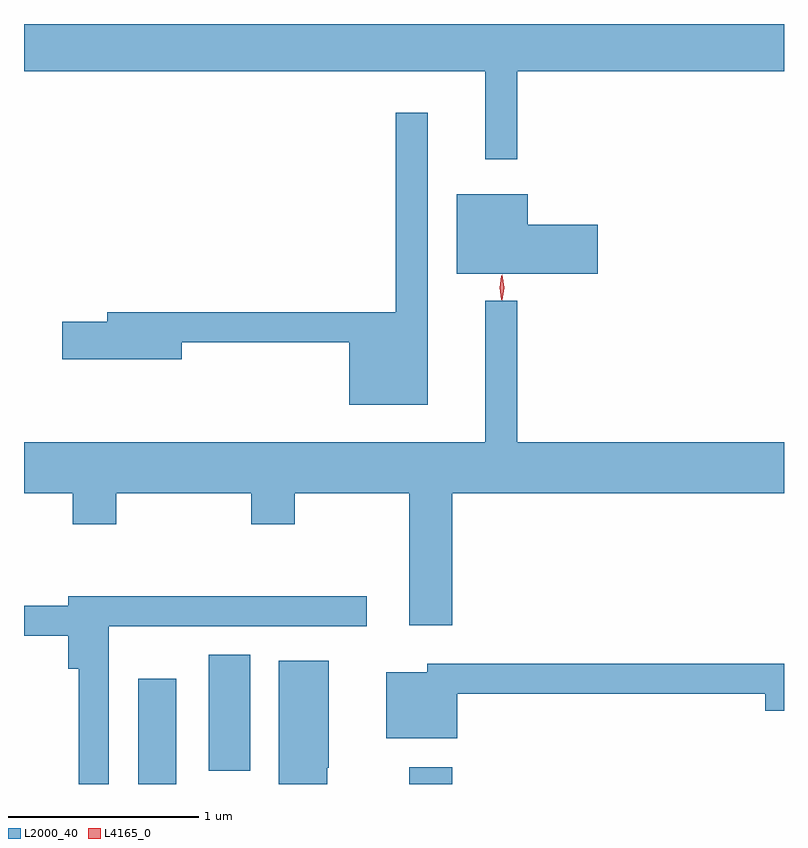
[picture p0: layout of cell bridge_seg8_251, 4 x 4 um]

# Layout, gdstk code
import gdstk
lib = gdstk.Library(unit=1e-6, precision=1e-09)
def R(c, l, rs):  # rectangles x0, y0, x1, y1
    for r in rs: c.add(gdstk.rectangle(r[:2], r[2:], *l))
def P(c, l, *ps):  # polygons
    for p in ps: c.add(gdstk.Polygon(p, *l))
L2000_40 = (2000, 40)
L4165_0 = (4165, 0)

bridge_seg8_251 = lib.new_cell('bridge_seg8_251')
R(bridge_seg8_251, L2000_40, [(1050.386,1828.225,1050.584,1828.779), (1051.811,1828.225,1052.039,1828.314), (1050.756,1828.296,1050.974,1828.904)])
P(bridge_seg8_251, L2000_40, [(1052.379,1831.976),(1053.784,1831.976),(1053.784,1832.225),(1049.784,1832.225),(1049.784,1831.976),(1052.211,1831.976),(1052.211,1831.513),(1052.379,1831.513)],
  [(1051.909,1831.758),(1051.741,1831.758),(1051.741,1830.709),(1050.221,1830.709),(1050.221,1830.659),(1049.986,1830.659),(1049.986,1830.461),(1050.614,1830.461),(1050.614,1830.551),(1051.496,1830.551),(1051.496,1830.221),(1051.909,1830.221)],
  [(1052.804,1831.169),(1052.434,1831.169),(1052.434,1831.329),(1052.061,1831.329),(1052.061,1830.911),(1052.804,1830.911)],
  [(1052.039,1829.756),(1053.784,1829.756),(1053.784,1830.024),(1052.379,1830.024),(1052.379,1830.768),(1052.211,1830.768),(1052.211,1830.024),(1049.784,1830.024),(1049.784,1829.756),(1050.041,1829.756),(1050.041,1829.591),(1050.269,1829.591),(1050.269,1829.756),(1050.981,1829.756),(1050.981,1829.591),(1051.209,1829.591),(1051.209,1829.756),(1051.811,1829.756),(1051.811,1829.061),(1052.039,1829.061)],
  [(1050.229,1829.056),(1051.588,1829.056),(1051.588,1829.214),(1050.016,1829.214),(1050.016,1829.164),(1049.784,1829.164),(1049.784,1829.006),(1050.016,1829.006),(1050.016,1828.831),(1050.071,1828.831),(1050.071,1828.225),(1050.229,1828.225)],
  [(1051.379,1828.31),(1051.389,1828.31),(1051.389,1828.874),(1051.126,1828.874),(1051.126,1828.225),(1051.379,1828.225)],
  [(1052.064,1828.701),(1053.686,1828.701),(1053.686,1828.611),(1053.784,1828.611),(1053.784,1828.859),(1051.906,1828.859),(1051.906,1828.814),(1051.691,1828.814),(1051.691,1828.466),(1052.064,1828.466)])
P(bridge_seg8_251, L4165_0, [(1052.3,1830.77),(1052.3,1830.77),(1052.291,1830.838),(1052.302,1830.905),(1052.302,1830.906),(1052.302,1830.905),(1052.311,1830.838),(1052.301,1830.77)],
  [(1052.297,1830.773),(1052.288,1830.836),(1052.297,1830.899),(1052.298,1830.9),(1052.298,1830.899),(1052.308,1830.836),(1052.298,1830.773),(1052.298,1830.773)])

lib.write_gds('bridge_seg8_251.gds')
